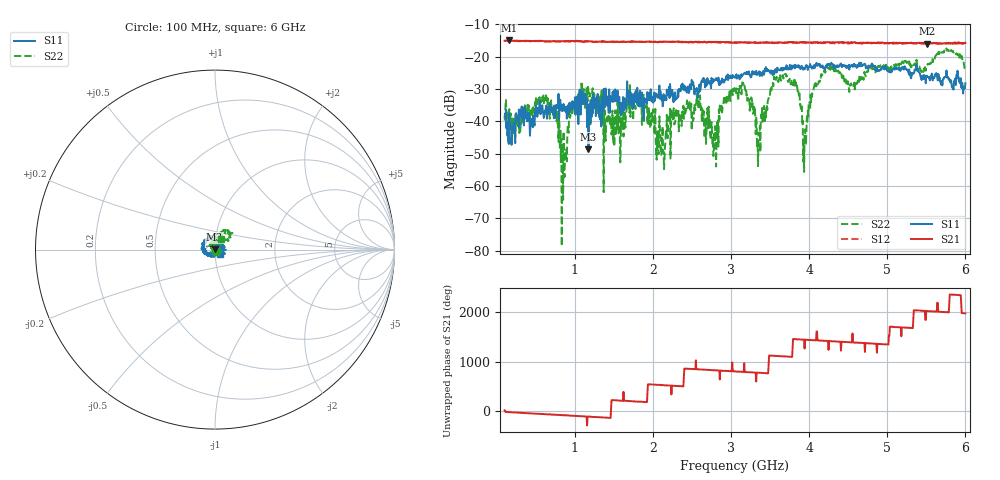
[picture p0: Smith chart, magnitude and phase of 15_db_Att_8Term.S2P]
!Created with skrf (http://scikit-rf.org).
# MHz S RI R 50.0
!freq ReS11 ImS11 ReS21 ImS21 ReS12 ImS12 ReS22 ImS22
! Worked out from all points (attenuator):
!   1001 points, 100 MHz to 6 GHz, reference 50 ohm
!   highest |S21| = -14.98 dB at 153.1 MHz (marker M1); lowest = -16.0 dB at 5.504 GHz (marker M2)
!   lowest |S11| = -48.6 dB at 1.174 GHz (marker M3), VSWR 1.01, Z = 49.7 + j0.247 ohm
!   |S11| at or under -10 dB: start of sweep to end of sweep
!   |S22| runs from -78.6 to -17.4 dB; largest |S21 - S12| = 0.014
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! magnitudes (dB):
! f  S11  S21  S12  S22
! 100 MHz  -38.7  -15.1  -15.1  -39.8
! 153.1 MHz  -47.0  -15.0  -15.1  -39.0
! 636.9 MHz  -36.8  -15.2  -15.3  -33.6
! 861.1 MHz  -35.8  -15.2  -15.3  -54.5
! 955.5 MHz  -35.5  -15.1  -15.3  -37.4
! 1.085 GHz  -30.4  -15.3  -15.5  -27.6
! 1.174 GHz  -48.6  -15.2  -15.3  -30.8
! 1.605 GHz  -37.3  -15.4  -15.4  -39.7
! 1.811 GHz  -35.3  -15.3  -15.3  -32.5
! 2.071 GHz  -32.6  -15.5  -15.5  -50.2
! 2.578 GHz  -30.7  -15.4  -15.5  -35.5
! 2.784 GHz  -27.5  -15.4  -15.4  -43.3
! 3.05 GHz  -26.6  -15.7  -15.7  -30.7
! 3.174 GHz  -25.0  -15.5  -15.6  -29.3
! 3.345 GHz  -25.1  -15.6  -15.7  -53.9
! 3.563 GHz  -23.9  -15.6  -15.8  -27.1
! 3.829 GHz  -22.9  -15.6  -15.7  -27.9
! 3.941 GHz  -23.9  -15.6  -15.7  -43.7
! 4.035 GHz  -23.7  -15.6  -15.9  -32.4
! 5.021 GHz  -24.4  -15.9  -15.9  -23.3
! 5.504 GHz  -26.1  -16.0  -15.8  -22.7
! 6 GHz  -28.2  -15.7  -15.8  -23.3
